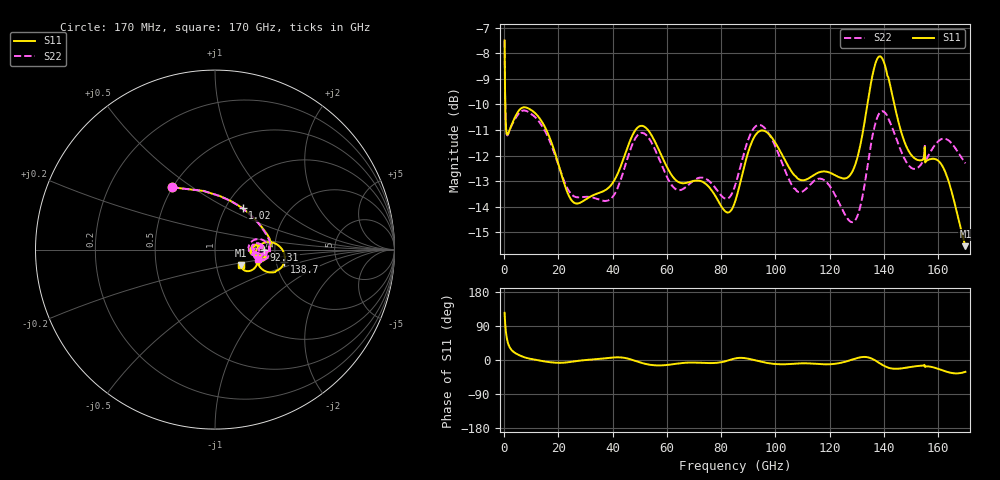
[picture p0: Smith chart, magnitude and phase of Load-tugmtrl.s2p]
!QAlibria Port Mapping:1,2
!QAlibria TraceName:S11,S21,S12,S22
# Hz S RI R 50
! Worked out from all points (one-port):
!   1000 points, 170 MHz to 170 GHz, reference 50 ohm
!   lowest |S11| = -15.5 dB at 170 GHz (marker M1), VSWR 1.40, Z = 65.5 - j11.7 ohm
!   |S11| at or under -10 dB: 422.2 MHz to 133.9 GHz (133.5 GHz wide, 199 % of centre); 143.8 GHz to end of sweep
!   S11 on the Smith chart (normalised r, x): 170 MHz: 0.50, +0.42; 1.02 GHz: 1.20, +0.60; 92.31 GHz: 1.75, -0.01; 138.7 GHz: 2.22, -0.36; 170 GHz: 1.31, -0.23
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1.7e8  -0.2393 0.347  0 0  0 0  -0.2395 0.347
1.02e9  0.1537 0.2297  0 0  0 0  0.1544 0.2283
2.55e9  0.2533 0.1344  0 0  0 0  0.2542 0.1312
6.8e9  0.308 0.0485  0 0  0 0  0.3046 0.0422
1.751e10  0.2644 -0.0292  0 0  0 0  0.2614 -0.0231
2.856e10  0.2039 -0.00388  0 0  0 0  0.2083 0.00498
3.978e10  0.22 0.0246  0 0  0 0  0.2068 0.0225
4.947e10  0.2847 -0.0249  0 0  0 0  0.2764 -0.00278
5.678e10  0.2515 -0.0641  0 0  0 0  0.2448 -0.0499
6.375e10  0.2208 -0.0375  0 0  0 0  0.2149 -0.0149
8.517e10  0.2042 0.0148  0 0  0 0  0.2181 0.0293
9.231e10  0.2739 -0.00251  0 0  0 0  0.2852 -0.00559
1.003e11  0.2597 -0.0493  0 0  0 0  0.2517 -0.0619
1.0744e11  0.2259 -0.0379  0 0  0 0  0.2142 -0.0275
1.1339e11  0.2257 -0.0376  0 0  0 0  0.2222 -0.00488
1.292e11  0.2392 0.0131  0 0  0 0  0.1869 0.0134
1.343e11  0.324 0.0383  0 0  0 0  0.2395 0.0588
1.3872e11  0.3864 -0.0677  0 0  0 0  0.3058 0.00148
1.4178e11  0.3308 -0.1261  0 0  0 0  0.2916 -0.0459
1.5028e11  0.2392 -0.0764  0 0  0 0  0.2364 -0.0222
1.6133e11  0.2151 -0.1079  0 0  0 0  0.2707 -0.00674
1.7e11  0.1429 -0.0868  0 0  0 0  0.2371 -0.0516
